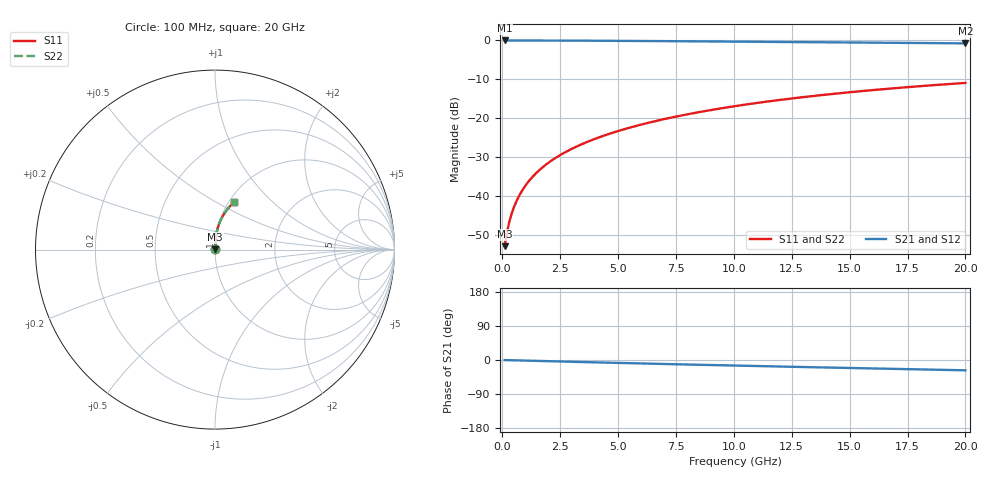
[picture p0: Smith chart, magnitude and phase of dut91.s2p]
! Touchstone file exported from HFSS 2024.1.0
!  File:  C:/UserFiles/LocalFiles/RDL_TSV_Batchsim/temp_RDL_bottom_91_1778694778.aedt
!  Generated:  01:56:01 AM May 14, 2026
!  Design:  RDL_bottom
!  Project:  temp_RDL_bottom_91_1778694778
!  Setup:  Setup1
!  Solution:  Sweep
! Variables:
!  dtsv = 10.80580581um
!  hbump = 3um
!  htsv = 82.87um
!  ldown = 353.75um
!  lrdl = 100um
!  p = 40
!  p1 = 51.19um
!  rhole = 1um
!  t = 450um
!  tdown = 3.9um
!  trdl = 3.915915916um
!  wdown = 20.88um
!  wrdl = 20um
# GHz S MA R 50.000000
! Terminal data exported
! Port[1] = RDL1_T1
! Port[2] = RDL1_T2
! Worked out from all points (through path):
!   200 points, 100 MHz to 20 GHz, reference 50 ohm
!   highest |S21| = -0.02 dB at 100 MHz (marker M1); lowest = -0.8 dB at 20 GHz (marker M2)
!   group delay of S21, straight-line fit = 3.75 ps
!   lowest |S11| = -53.0 dB at 100 MHz (marker M3), VSWR 1.00, Z = 50.2 + j0.143 ohm
!   |S11| at or under -10 dB: start of sweep to end of sweep
!   |S22| runs from -53.0 to -11.0 dB; largest |S21 - S12| = 3.1e-15
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0.1  0.002238 39.7  0.9983 -0.2  0.9983 -0.2  0.002238 39.7
! Gamma 0 0 0 0
! Port Impedance 50 0 50 0
0.2  0.003343 57.5  0.9982 -0.3  0.9982 -0.3  0.003343 57.5
0.3  0.004569 65.7  0.9981 -0.5  0.9981 -0.5  0.004569 65.7
0.4  0.00582 70.5  0.998 -0.6  0.998 -0.6  0.00582 70.5
0.5  0.00708 73.6  0.9979 -0.8  0.9979 -0.8  0.00708 73.6
0.6  0.008348 75.8  0.9978 -1.0  0.9978 -1.0  0.008348 75.8
0.8  0.01091 78.9  0.9976 -1.3  0.9976 -1.3  0.01091 78.9
1.1  0.01479 81.5  0.9973 -1.7  0.9973 -1.7  0.01479 81.5
1.5  0.02003 83.5  0.9967 -2.4  0.9967 -2.4  0.02003 83.5
1.8  0.02399 84.4  0.9962 -2.8  0.9962 -2.8  0.02399 84.4
2.1  0.02799 85.0  0.9956 -3.3  0.9956 -3.3  0.02799 85.0
2.7  0.03606 85.7  0.9942 -4.2  0.9942 -4.2  0.03606 85.7
3.5  0.04698 86.0  0.9919 -5.5  0.9919 -5.5  0.04698 86.0
4.2  0.05671 86.0  0.9896 -6.5  0.9896 -6.5  0.05671 86.0
5  0.06801 85.8  0.9867 -7.7  0.9867 -7.7  0.06801 85.8
5.9  0.08094 85.3  0.983 -9.0  0.983 -9.0  0.08094 85.3
6.8  0.09407 84.6  0.9792 -10.3  0.9792 -10.3  0.09407 84.6
8.4  0.1177 83.1  0.972 -12.5  0.972 -12.5  0.1177 83.1
10.1  0.1431 81.1  0.9642 -14.8  0.9642 -14.8  0.1431 81.1
13.4  0.1919 76.9  0.9484 -19.1  0.9484 -19.1  0.1919 76.9
16.7  0.2389 72.6  0.9322 -23.2  0.9322 -23.2  0.239 72.6
20  0.2834 68.3  0.9154 -27.2  0.9154 -27.2  0.2834 68.3
